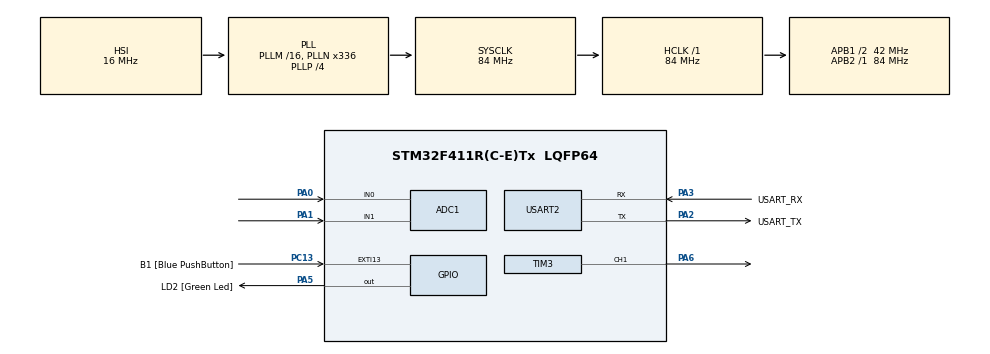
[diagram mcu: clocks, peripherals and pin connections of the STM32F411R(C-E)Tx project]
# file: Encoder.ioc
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ADC1.Channel-0\#ChannelRegularConversion=ADC_CHANNEL_0
ADC1.Channel-1\#ChannelRegularConversion=ADC_CHANNEL_1
ADC1.ContinuousConvMode=ENABLE
ADC1.DMAContinuousRequests=ENABLE
ADC1.ExternalTrigConv=ADC_EXTERNALTRIGCONV_T3_TRGO
ADC1.NbrOfConversion=2
ADC1.NbrOfConversionFlag=1
ADC1.Rank-0\#ChannelRegularConversion=1
ADC1.Rank-1\#ChannelRegularConversion=2
ADC1.SamplingTime-0\#ChannelRegularConversion=ADC_SAMPLETIME_56CYCLES
ADC1.SamplingTime-1\#ChannelRegularConversion=ADC_SAMPLETIME_56CYCLES
ADC1.ScanConvMode=ENABLE
ADC1.master=1
Dma.ADC1.0.Direction=DMA_PERIPH_TO_MEMORY
Dma.ADC1.0.FIFOMode=DMA_FIFOMODE_DISABLE
Dma.ADC1.0.Instance=DMA2_Stream0
Dma.ADC1.0.MemDataAlignment=DMA_MDATAALIGN_HALFWORD
Dma.ADC1.0.MemInc=DMA_MINC_ENABLE
Dma.ADC1.0.Mode=DMA_NORMAL
Dma.ADC1.0.PeriphDataAlignment=DMA_PDATAALIGN_HALFWORD
Dma.ADC1.0.PeriphInc=DMA_PINC_DISABLE
Dma.ADC1.0.Priority=DMA_PRIORITY_HIGH
Dma.Request0=ADC1
Dma.Request1=USART2_TX
Dma.USART2_TX.1.Direction=DMA_MEMORY_TO_PERIPH
Dma.USART2_TX.1.FIFOMode=DMA_FIFOMODE_DISABLE
Dma.USART2_TX.1.Instance=DMA1_Stream6
Dma.USART2_TX.1.MemDataAlignment=DMA_MDATAALIGN_BYTE
Dma.USART2_TX.1.MemInc=DMA_MINC_ENABLE
Dma.USART2_TX.1.Mode=DMA_NORMAL
Dma.USART2_TX.1.PeriphDataAlignment=DMA_PDATAALIGN_BYTE
Dma.USART2_TX.1.PeriphInc=DMA_PINC_DISABLE
Dma.USART2_TX.1.Priority=DMA_PRIORITY_LOW
Mcu.Family=STM32F4
Mcu.Name=STM32F411R(C-E)Tx
Mcu.Package=LQFP64
NVIC.DMA1_Stream6_IRQn=true\:0\:0\:false\:false\:true\:false\:true\:true
NVIC.DMA2_Stream0_IRQn=true\:0\:0\:false\:false\:true\:false\:true\:true
NVIC.PriorityGroup=NVIC_PRIORITYGROUP_0
NVIC.USART2_IRQn=true\:0\:0\:false\:false\:true\:true\:true\:true
PA0-WKUP.Signal=ADCx_IN0
PA1.Signal=ADCx_IN1
PA13.GPIO_Label=TMS
PA13.Mode=Serial_Wire
PA13.Signal=SYS_JTMS-SWDIO
PA14.GPIO_Label=TCK
PA14.Mode=Serial_Wire
PA14.Signal=SYS_JTCK-SWCLK
PA2.GPIO_Label=USART_TX
PA2.Mode=Asynchronous
PA2.Signal=USART2_TX
PA3.GPIO_Label=USART_RX
PA3.Mode=Asynchronous
PA3.Signal=USART2_RX
PA5.GPIO_Label=LD2 [Green Led]
PA5.Signal=GPIO_Output
PA6.Signal=S_TIM3_CH1
PB3.GPIO_Label=SWO
PB3.Signal=SYS_JTDO-SWO
PC13-ANTI_TAMP.GPIO_Label=B1 [Blue PushButton]
PC13-ANTI_TAMP.GPIO_ModeDefaultEXTI=GPIO_MODE_IT_FALLING
PC13-ANTI_TAMP.Signal=GPXTI13
PC14-OSC32_IN.Mode=LSE-External-Oscillator
PC14-OSC32_IN.Signal=RCC_OSC32_IN
PC15-OSC32_OUT.Mode=LSE-External-Oscillator
PC15-OSC32_OUT.Signal=RCC_OSC32_OUT
PH0\ -\ OSC_IN.Mode=HSE-External-Clock-Source
PH0\ -\ OSC_IN.Signal=RCC_OSC_IN
PH1\ -\ OSC_OUT.Mode=HSE-External-Clock-Source
PH1\ -\ OSC_OUT.Signal=RCC_OSC_OUT
ProjectManager.HeapSize=0x200
ProjectManager.StackSize=0x400
ProjectManager.TargetToolchain=STM32CubeIDE
RCC.48MHZClocksFreq_Value=84000000
RCC.AHBFreq_Value=84000000
RCC.APB1CLKDivider=RCC_HCLK_DIV2
RCC.APB1Freq_Value=42000000
RCC.APB1TimFreq_Value=84000000
RCC.APB2Freq_Value=84000000
RCC.APB2TimFreq_Value=84000000
RCC.CortexFreq_Value=84000000
RCC.FLatency-AdvancedSettings=FLASH_LATENCY_2
RCC.HCLKFreq_Value=84000000
RCC.HSE_VALUE=8000000
RCC.HSI_VALUE=16000000
RCC.PLLN=336
RCC.PLLP=RCC_PLLP_DIV4
RCC.SYSCLKFreq_VALUE=84000000
RCC.SYSCLKSource=RCC_SYSCLKSOURCE_PLLCLK
RCC.VCOOutputFreq_Value=336000000
SH.ADCx_IN0.0=ADC1_IN0,IN0
SH.ADCx_IN1.0=ADC1_IN1,IN1
SH.S_TIM3_CH1.0=TIM3_CH1,Output Compare1 CH1
TIM10.Period=839
TIM10.Prescaler=999
TIM3.Channel-Output\ Compare1\ CH1=TIM_CHANNEL_1
TIM3.OCMode_1=TIM_OCMODE_TOGGLE
TIM3.Period=139
TIM3.Prescaler=999
TIM3.Pulse-Output\ Compare1\ CH1=0
TIM3.TIM_MasterOutputTrigger=TIM_TRGO_UPDATE
USART2.VirtualMode=VM_ASYNC
VP_TIM10_VS_ClockSourceINT.Mode=Enable_Timer
VP_TIM3_VS_ClockSourceINT.Mode=Internal
board=NUCLEO-F411RE

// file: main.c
/* USER CODE BEGIN Header */
/**
  ******************************************************************************
  * @file           : main.c
  * @brief          : Main program body
  ******************************************************************************
  * @attention
  *
  * Copyright (c) 2023 STMicroelectronics.
  * All rights reserved.
  *
  * This software is licensed under terms that can be found in the LICENSE file
  * in the root directory of this software component.
  * If no LICENSE file comes with this software, it is provided AS-IS.
  *
  ******************************************************************************
  */
/* USER CODE END Header */
#include "main.h"
#include "adc.h"
#include "dma.h"
#include "tim.h"
#include "usart.h"
#include "gpio.h"

void SystemClock_Config(void);

/* USER CODE BEGIN 0 */
#define AMOSTRAS 64
#define TAM_MSG 100
#define ESCALA (3.3/4095.0)

volatile uint16_t medidas[AMOSTRAS];

float V;
float I;
float W;

uint8_t msg[TAM_MSG];
/* USER CODE END 0 */

int main(void)
{

  /* MCU Configuration--------------------------------------------------------*/

  /* Reset of all peripherals, Initializes the Flash interface and the Systick. */
  HAL_Init();

  /* Configure the system clock */
  SystemClock_Config();

  /* Initialize all configured peripherals */
  MX_GPIO_Init();
  MX_DMA_Init();
  MX_USART2_UART_Init();
  MX_ADC1_Init();
  MX_TIM3_Init();
  MX_TIM10_Init();
  /* USER CODE BEGIN 2 */
  HAL_TIM_OC_Start(&htim3, TIM_CHANNEL_1);

  HAL_TIM_Base_Start(&htim10);
  __HAL_TIM_CLEAR_FLAG(&htim10, TIM_FLAG_UPDATE);

  strncpy(msg, "Wattimetro DC\r\nby Felipe Piacentini Chemin e Caina Schaurich Borges | 4411 - 2023\r\n\n", TAM_MSG);
  HAL_UART_Transmit_DMA(&huart2, msg, strlen(msg));

  HAL_ADC_Start_DMA(&hadc1, medidas, AMOSTRAS);
  /* USER CODE END 2 */

  /* Infinite loop */
  /* USER CODE BEGIN WHILE */
  while (1)
  {
	  if (__HAL_TIM_GET_FLAG(&htim10, TIM_FLAG_UPDATE))
	  {
			snprintf(msg, TAM_MSG, "\033[2J\tValores na carga\n\n\rTensao: %.2f V \n\rCorrente: %.2f mA \n\rPotencia: %.2f mW \n\r", V, I, W);
			HAL_UART_Transmit_DMA(&huart2, msg, strlen(msg));

			__HAL_TIM_CLEAR_FLAG(&htim10, TIM_FLAG_UPDATE);
	  }
    /* USER CODE END WHILE */

  }
}

void SystemClock_Config(void)
{
  RCC_OscInitTypeDef RCC_OscInitStruct = {0};
  RCC_ClkInitTypeDef RCC_ClkInitStruct = {0};

  /** Configure the main internal regulator output voltage
  */
  __HAL_RCC_PWR_CLK_ENABLE();
  __HAL_PWR_VOLTAGESCALING_CONFIG(PWR_REGULATOR_VOLTAGE_SCALE1);

  /** Initializes the RCC Oscillators according to the specified parameters
  * in the RCC_OscInitTypeDef structure.
  */
  RCC_OscInitStruct.OscillatorType = RCC_OSCILLATORTYPE_HSI;
  RCC_OscInitStruct.HSIState = RCC_HSI_ON;
  RCC_OscInitStruct.HSICalibrationValue = RCC_HSICALIBRATION_DEFAULT;
  RCC_OscInitStruct.PLL.PLLState = RCC_PLL_ON;
  RCC_OscInitStruct.PLL.PLLSource = RCC_PLLSOURCE_HSI;
  RCC_OscInitStruct.PLL.PLLM = 16;
  RCC_OscInitStruct.PLL.PLLN = 336;
  RCC_OscInitStruct.PLL.PLLP = RCC_PLLP_DIV4;
  RCC_OscInitStruct.PLL.PLLQ = 4;
  if (HAL_RCC_OscConfig(&RCC_OscInitStruct) != HAL_OK)
  {
    Error_Handler();
  }

  /** Initializes the CPU, AHB and APB buses clocks
  */
  RCC_ClkInitStruct.ClockType = RCC_CLOCKTYPE_HCLK|RCC_CLOCKTYPE_SYSCLK
                              |RCC_CLOCKTYPE_PCLK1|RCC_CLOCKTYPE_PCLK2;
  RCC_ClkInitStruct.SYSCLKSource = RCC_SYSCLKSOURCE_PLLCLK;
  RCC_ClkInitStruct.AHBCLKDivider = RCC_SYSCLK_DIV1;
  RCC_ClkInitStruct.APB1CLKDivider = RCC_HCLK_DIV2;
  RCC_ClkInitStruct.APB2CLKDivider = RCC_HCLK_DIV1;

  if (HAL_RCC_ClockConfig(&RCC_ClkInitStruct, FLASH_LATENCY_2) != HAL_OK)
  {
    Error_Handler();
  }
}

/* USER CODE BEGIN 4 */
void HAL_ADC_ConvCpltCallback(ADC_HandleTypeDef* hadc)
{
	uint32_t Vmedio = medidas[0];
	uint32_t Imedio;

	for(int x=1;x<AMOSTRAS; x++)
	{
		if(x % 2 == 0)
		{
			Vmedio += medidas[x];
		}else Imedio += medidas[x];
	}

	Vmedio = Vmedio / (AMOSTRAS/2);
	Imedio = Imedio / (AMOSTRAS/2);

	V = (Vmedio * ESCALA) / 0.275;
	I = (((Imedio*ESCALA)/1000) / 0.275) * 1000;
	W = V * I;

	HAL_ADC_Start_DMA(&hadc1, medidas, AMOSTRAS);
}
/* USER CODE END 4 */

void Error_Handler(void)
{
  __disable_irq();
  while (1)
  {
  }
}
